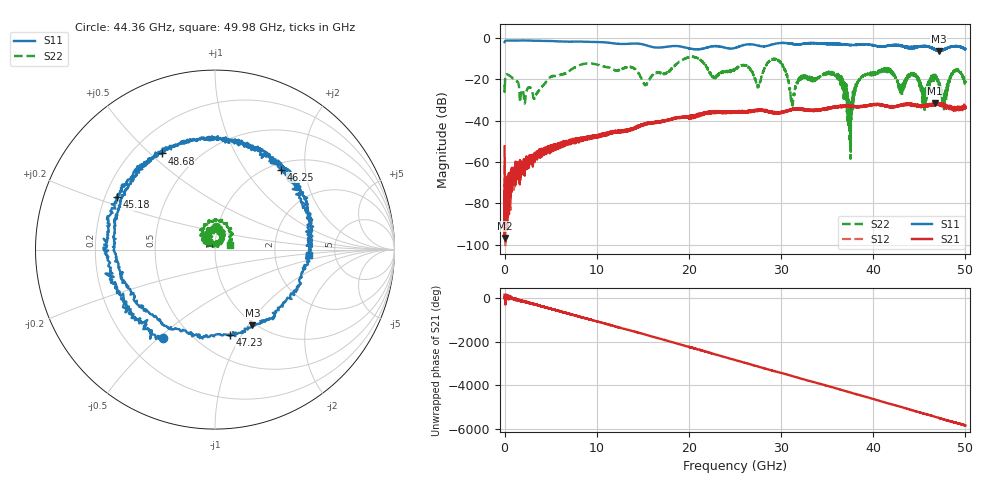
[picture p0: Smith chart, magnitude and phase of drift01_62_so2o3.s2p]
!Created with skrf (http://scikit-rf.org).
# Hz S RI R 50.0
!freq ReS11 ImS11 ReS21 ImS21 ReS12 ImS12 ReS22 ImS22
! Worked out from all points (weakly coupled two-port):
!   10001 points, 300 kHz to 50 GHz, reference 50 ohm
!   highest |S21| = -31.47 dB at 46.66 GHz (marker M1); lowest = -96.6 dB at 10.3 MHz (marker M2)
!   lowest |S11| = -6.6 dB at 47.12 GHz (marker M3), VSWR 2.77, Z = 48.4 - j52.3 ohm
!   |S11| at or under -10 dB: nowhere
!   |S22| runs from -58.5 to -9.2 dB; largest |S21 - S12| = 0.0038
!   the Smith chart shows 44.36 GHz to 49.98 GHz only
!   S11 on the Smith chart (normalised r, x): 44.36 GHz: 0.35, -0.52; 45.18 GHz: 0.25, +0.24; 46.25 GHz: 1.11, +1.50; 47.23 GHz: 0.72, -0.89; 48.68 GHz: 0.32, +0.54; 49.98 GHz: 3.19, -0.29
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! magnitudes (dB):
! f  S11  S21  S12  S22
! 300 kHz  -2.2  -52.4  -61.7  -22.7
! 10.3 MHz  -2.1  -96.6  -74.5  -25.6
! 255.3 MHz  -1.4  -70.3  -72.5  -17.7
! 3.29 GHz  -1.5  -59.0  -56.7  -28.7
! 8.335 GHz  -1.9  -49.2  -49.1  -12.9
! 16.67 GHz  -4.8  -40.9  -40.7  -16.7
! 25 GHz  -5.0  -36.0  -35.9  -15.3
! 31.23 GHz  -3.0  -34.2  -34.7  -32.3
! 33.34 GHz  -2.6  -34.9  -35.0  -20.2
! 36.12 GHz  -3.1  -33.1  -33.3  -18.9
! 37.49 GHz  -3.6  -33.3  -33.2  -36.5
! 38.66 GHz  -3.4  -33.3  -33.2  -19.4
! 41.67 GHz  -3.9  -33.1  -33.2  -16.2
! 44.36 GHz  -4.9  -32.5  -32.5  -18.1
! 45.18 GHz  -4.1  -33.1  -32.9  -23.5
! 46.25 GHz  -4.7  -32.6  -32.3  -21.1
! 46.66 GHz  -5.5  -31.5  -32.0  -18.4
! 47.12 GHz  -6.6  -32.1  -32.2  -21.9
! 47.23 GHz  -6.3  -31.6  -32.0  -22.9
! 48.68 GHz  -4.3  -34.7  -34.3  -16.3
! 49.98 GHz  -5.6  -33.0  -33.1  -21.1
! 50 GHz  -5.5  -34.0  -34.0  -21.0
